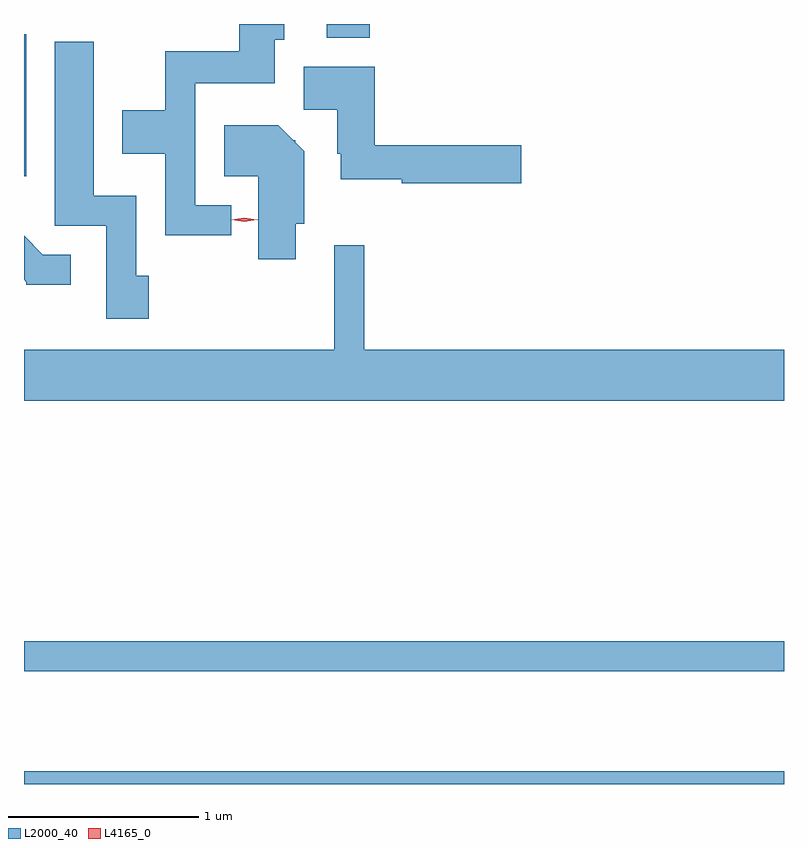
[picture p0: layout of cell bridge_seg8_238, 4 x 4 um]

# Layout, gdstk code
import gdstk
lib = gdstk.Library(unit=1e-6, precision=1e-09)
def R(c, l, rs):  # rectangles x0, y0, x1, y1
    for r in rs: c.add(gdstk.rectangle(r[:2], r[2:], *l))
def P(c, l, *ps):  # polygons
    for p in ps: c.add(gdstk.Polygon(p, *l))
L2000_40 = (2000, 40)
L4165_0 = (4165, 0)

bridge_seg8_238 = lib.new_cell('bridge_seg8_238')
R(bridge_seg8_238, L2000_40, [(1083.888,1863.258,1087.888,1863.324), (1083.888,1863.851,1087.888,1864.009), (1083.888,1866.456,1083.899,1867.204), (1085.481,1867.186,1085.709,1867.258)])
P(bridge_seg8_238, L2000_40, [(1084.978,1866.304),(1084.789,1866.304),(1084.789,1866.946),(1085.209,1866.946),(1085.209,1867.176),(1085.258,1867.176),(1085.258,1867.258),(1085.021,1867.258),(1085.021,1867.114),(1084.631,1867.114),(1084.631,1866.804),(1084.406,1866.804),(1084.406,1866.576),(1084.631,1866.576),(1084.631,1866.146),(1084.978,1866.146)],
  [(1084.544,1865.934),(1084.479,1865.934),(1084.479,1866.354),(1084.254,1866.354),(1084.254,1867.164),(1084.051,1867.164),(1084.051,1866.196),(1084.321,1866.196),(1084.321,1865.706),(1084.544,1865.706)],
  [(1086.504,1866.619),(1085.734,1866.619),(1085.734,1867.034),(1085.361,1867.034),(1085.361,1866.806),(1085.536,1866.806),(1085.536,1866.576),(1085.556,1866.576),(1085.556,1866.441),(1085.876,1866.441),(1085.876,1866.421),(1086.504,1866.421)],
  [(1085.319,1866.206),(1085.364,1866.206),(1085.364,1866.587),(1085.315,1866.636),(1085.315,1866.645),(1085.306,1866.645),(1085.227,1866.724),(1084.941,1866.724),(1084.941,1866.456),(1085.121,1866.456),(1085.121,1866.021),(1085.319,1866.021)],
  [(1084.133,1866.044),(1083.987,1866.044),(1083.888,1866.143),(1083.888,1865.912),(1083.9,1865.9),(1083.9,1865.886),(1084.133,1865.886)],
  [(1087.888,1865.544),(1085.679,1865.544),(1085.679,1866.093),(1085.521,1866.093),(1085.521,1865.544),(1083.888,1865.544),(1083.888,1865.276),(1087.888,1865.276)])
P(bridge_seg8_238, L4165_0, [(1085.048,1866.218),(1084.979,1866.227),(1084.979,1866.227),(1084.979,1866.228),(1085.048,1866.238),(1085.116,1866.229),(1085.117,1866.228),(1085.116,1866.228)])

lib.write_gds('bridge_seg8_238.gds')
